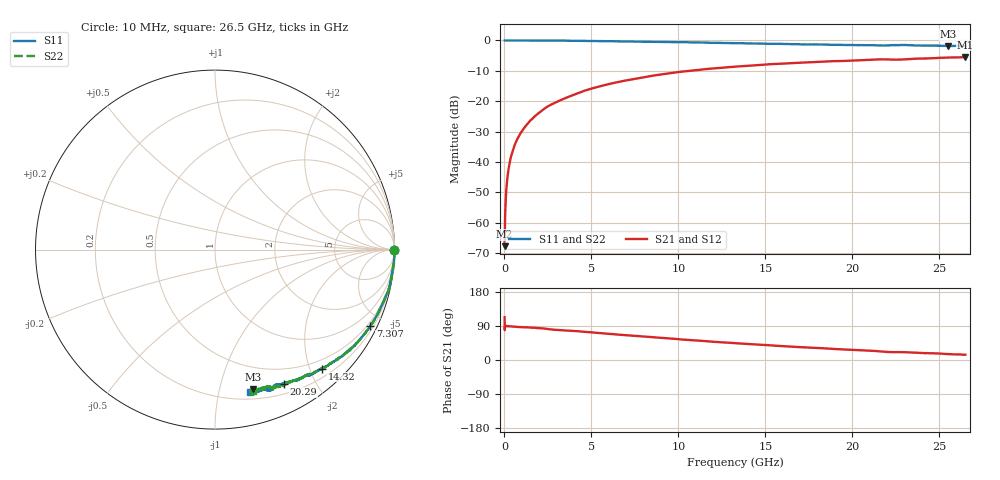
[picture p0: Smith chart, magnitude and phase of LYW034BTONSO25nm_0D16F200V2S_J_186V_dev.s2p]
!Keysight Technologies,N5222B,MY61253708,A.15.00.15
!Date: Wednesday, June 19, 2024 10:34:08
!Correction: S11(C  2-Port  )
!S21(C  2-Port  )
!S12(C  2-Port  )
!S22(C  2-Port  )
!S2P File: Measurements: S11, S21, S12, S22:
# Hz S  RI  R 50
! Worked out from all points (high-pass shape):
!   2651 points, 10 MHz to 26.5 GHz, reference 50 ohm
!   highest |S21| = -5.45 dB at 26.5 GHz (marker M1); lowest = -67.7 dB at 10 MHz (marker M2)
!   |S21| within 3 dB of the highest: 13.63889 GHz to 13.66159 GHz (22.69 MHz wide, 0.166 % of centre); 13.69 GHz to end of sweep
!   lowest |S11| = -1.9 dB at 25.5 GHz (marker M3), VSWR 9.31, Z = 14.3 - j63.5 ohm
!   |S11| at or under -10 dB: nowhere
!   |S22| runs from -1.8 to 0.0 dB; largest |S21 - S12| = 0.0068
!   S11 on the Smith chart (normalised r, x): 10 MHz: open; 7.307 GHz: 0.35, -4.25; 14.32 GHz: 0.34, -2.21; 20.29 GHz: 0.31, -1.59; 26.5 GHz: 0.26, -1.24
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1e7  0.9984 -0.00309  -0.000161 0.00038  5.23e-05 0.00026  0.9983 -0.00201
6.997736e7  1 -0.00513  8.67e-06 0.00229  2.79e-05 0.00225  0.9998 -0.0047
1.599434e8  0.9999 -0.0112  6.39e-05 0.00519  3.81e-05 0.00519  0.9998 -0.0103
1.999283e8  0.9999 -0.0134  7.06e-05 0.00646  0.000128 0.00649  0.9999 -0.0125
2.499094e8  0.9995 -0.0168  0.000122 0.00807  0.000135 0.00809  0.9995 -0.0158
3.498717e8  0.9998 -0.0234  0.000302 0.0113  0.000256 0.0114  0.9997 -0.0223
4.798226e8  0.9986 -0.032  0.000488 0.0155  0.000472 0.0156  0.9982 -0.0307
6.397623e8  0.9986 -0.0418  0.000829 0.0206  0.00082 0.0207  0.9985 -0.0403
8.296906e8  0.9979 -0.0544  0.00141 0.0266  0.00137 0.0267  0.998 -0.0531
1.459453e9  0.9911 -0.0964  0.00341 0.0472  0.00341 0.0472  0.9935 -0.0918
2.329125e9  0.9825 -0.1491  0.00944 0.076  0.00957 0.0762  0.9839 -0.1487
3.218789e9  0.972 -0.2048  0.0202 0.1019  0.0203 0.1023  0.9732 -0.2026
4.428332e9  0.945 -0.276  0.0366 0.1385  0.0369 0.139  0.9472 -0.2721
7.307245e9  0.8642 -0.4272  0.0986 0.2064  0.0998 0.2066  0.8671 -0.424
8.846664e9  0.8102 -0.4969  0.1397 0.2333  0.1408 0.2335  0.8129 -0.4932
1.3255e10  0.6378 -0.639  0.2643 0.2596  0.2661 0.2591  0.644 -0.6355
1.43246e10  0.5981 -0.6627  0.2911 0.2566  0.2927 0.2564  0.6039 -0.6576
1.767333e10  0.4678 -0.7215  0.37 0.2348  0.3729 0.233  0.4812 -0.7172
2.029234e10  0.3827 -0.7473  0.4208 0.2087  0.4234 0.2064  0.4012 -0.7471
2.209166e10  0.3326 -0.7577  0.4538 0.1752  0.455 0.1724  0.3302 -0.7626
2.550038e10  0.2125 -0.7776  0.5042 0.1397  0.5051 0.1395  0.2369 -0.7795
2.65e10  0.1931 -0.7923  0.5179 0.1289  0.5166 0.1251  0.2105 -0.7901
